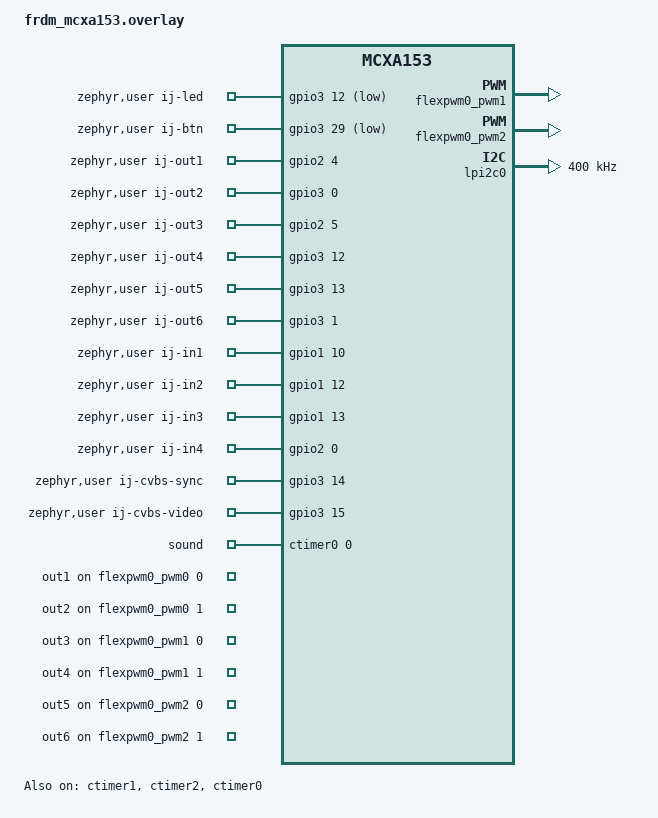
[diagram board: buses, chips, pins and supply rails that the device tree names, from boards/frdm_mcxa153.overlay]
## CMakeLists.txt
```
cmake_minimum_required(VERSION 3.20.0)
find_package(Zephyr REQUIRED HINTS $ENV{ZEPHYR_BASE})
project(ichigojam_z C)

set(IJB_BASIC_DIR ${CMAKE_CURRENT_SOURCE_DIR}/../IchigoJam_BASIC)

target_sources(app PRIVATE
    src/main.c
    ${IJB_BASIC_DIR}/main.c
)

target_include_directories(app PRIVATE
    src
    ${IJB_BASIC_DIR}
)
```

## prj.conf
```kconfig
# UART
CONFIG_SERIAL=y
CONFIG_UART_INTERRUPT_DRIVEN=y
CONFIG_UART_CONSOLE=n
CONFIG_CONSOLE=n
CONFIG_PRINTK=n
CONFIG_BOOT_BANNER=n

# GPIO
CONFIG_GPIO=y

# ADC (IN1/IN2/BTN analog input)
CONFIG_ADC=y

# PWM (sound)
CONFIG_PWM=y

# Flash / NVS storage
CONFIG_FLASH=y
CONFIG_FLASH_MAP=y
CONFIG_NVS=y

# I2C
CONFIG_I2C=y

# Reboot support (used by IJB_reset via sys_reboot)
CONFIG_REBOOT=y

# Counter (used by CVBS video line timer on rpi_pico / frdm_mcxa153)
CONFIG_COUNTER=y

# Dynamic interrupts (MCXA153: override CTimer driver ISR to eliminate H-sync jitter)
CONFIG_DYNAMIC_INTERRUPTS=y

# SRAM vector table (MCXA153: enables direct ISR registration to bypass z_arm_isr_wrapper)
# z_arm_isr_wrapper is in Flash; cache miss (~50-100cy) causes per-line SYNC=L jitter.
# With SRAM vector table, video_on() overwrites CTimer1 entry to call _cvbs_direct_isr
# directly. IRQ latency becomes fixed 12cy (CM33 hw) + LDM stall (0-9cy) only.
CONFIG_SRAM_VECTOR_TABLE=y

# Zero-latency IRQs (MCXA153: CVBS ISR at NVIC priority 0, unpreemptable by kernel tick)
# Without this, OS timer (kernel tick, IRQ57) is at the same NVIC priority as CTimer1 (IRQ40).
# Same-priority ISRs tail-chain → CVBS delayed by OS timer execution → H-sync jitter.
# With this, regular IRQs shift to NVIC prio 2+; CVBS with IRQ_ZERO_LATENCY → NVIC prio 0.
# CVBS ISR must NOT call any Zephyr kernel APIs (already satisfied: direct register access only).
CONFIG_ZERO_LATENCY_IRQS=y

# DMA (MCXA153: CTimer2-triggered DMA for CVBS pixel output, M7)
# Also ensures EDMA3 clock/reset release via board.c DT_NODE_HAS_STATUS_OKAY check.
CONFIG_DMA=y

# Threads
CONFIG_MAIN_STACK_SIZE=4096
CONFIG_MAIN_THREAD_PRIORITY=7
CONFIG_HEAP_MEM_POOL_SIZE=1024
```

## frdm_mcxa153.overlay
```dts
/*
 * IchigoJam_Z - FRDM-MCXA153 device tree overlay
 *
 * Base DTS already provides:
 *   lpuart0: console at 115200 baud (zephyr,console)
 *   lpi2c0:  I2C (arduino_i2c alias)
 *   lpadc0:  ADC
 *   gpio0-3: enabled
 *   storage_partition: 16KB at 0x1c000
 *   flexpwm0_pwm0: PWM (sound, M3)
 */

#include <zephyr/dt-bindings/gpio/gpio.h>

/ {
	zephyr,user {
		/* IchigoJam GPIO pin assignments for FRDM-MCXA153
		 * Using Arduino header pins. LEDs are active LOW.
		 * See pinmap/frdm_mcxa153.txt for connector layout.
		 */
		ij-led-gpios  = <&gpio3 12 GPIO_ACTIVE_LOW>;    /* RED LED (D5) */
		ij-btn-gpios  = <&gpio3 29 GPIO_ACTIVE_LOW>;    /* SW2 */
		ij-out1-gpios = <&gpio2  4 GPIO_ACTIVE_HIGH>;   /* D2 */
		ij-out2-gpios = <&gpio2  5 GPIO_ACTIVE_HIGH>;   /* D4 */
		ij-out3-gpios = <&gpio3  1 GPIO_ACTIVE_HIGH>;   /* D7 */
		ij-out4-gpios = <&gpio3 15 GPIO_ACTIVE_HIGH>;   /* D8 */
		ij-out5-gpios = <&gpio3 14 GPIO_ACTIVE_HIGH>;   /* D9 */
		ij-out6-gpios = <&gpio2  6 GPIO_ACTIVE_HIGH>;   /* D10 */
		ij-in1-gpios  = <&gpio1 10 GPIO_ACTIVE_HIGH>;   /* A0 */
		ij-in2-gpios  = <&gpio1 12 GPIO_ACTIVE_HIGH>;   /* A1 */
		ij-in3-gpios  = <&gpio1 13 GPIO_ACTIVE_HIGH>;   /* A2 */
		ij-in4-gpios  = <&gpio2  0 GPIO_ACTIVE_HIGH>;   /* A3 / ADC0_A0 */
	};
};
```

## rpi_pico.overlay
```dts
/*
 * IchigoJam_Z - Raspberry Pi Pico device tree overlay
 *
 * The base rpi_pico BSP already configures:
 *   uart0: GPIO0 (TX), GPIO1 (RX), 115200 baud
 *   i2c0:  GPIO4 (SDA), GPIO5 (SCL)
 *   gpio0: enabled
 *
 * This overlay:
 *   - Defines flash partitions (app: 1.75MB, storage: 256KB)
 *   - Overrides pwm_ch4b pinctrl from GPIO25 (LED) to
 *     GPIO20 (SOUND output) for the PSG timer thread (M3).
 *   - Enables ADC for IN1(GPIO27), IN2(GPIO26), BTN(GPIO28)
 */

#include <zephyr/dt-bindings/pinctrl/rpi-pico-rp2040-pinctrl.h>

/*
 * Flash partitions: 2MB total, last 256KB reserved for NVS storage.
 * The base rpi_pico-common.dtsi defines code_partition spanning all
 * usable flash. We delete it and redefine it smaller, then add
 * storage_partition in the freed space.
 */
&flash0 {
	partitions {
		/delete-node/ partition@100;

		/* Application code: 0x100 .. 0x1BFFFF (1.75MB - 256B) */
		code_partition: partition@100 {
			label = "code-partition";
			reg = <0x00000100 (DT_SIZE_K(1792) - 0x100)>;
			read-only;
		};

		/* NVS storage: last 256KB (64 sectors x 4KB) */
		storage_partition: partition@1C0000 {
			label = "storage";
			reg = <0x001C0000 DT_SIZE_K(256)>;
		};
	};
};

&pwm {
	status = "okay";
	pinctrl-0 = <&pwm_ch2a_sound>;
	pinctrl-names = "default";
};

&pinctrl {
	pwm_ch2a_sound: pwm_ch2a_sound {
		group1 {
			pinmux = <PWM_2A_P20>;
		};
	};
};

/ {
	zephyr,user {
		/* IchigoJam GPIO pin assignments for Raspberry Pi Pico */
		ij-led-gpios  = <&gpio0 25 GPIO_ACTIVE_HIGH>;   /* onboard LED */
		ij-btn-gpios  = <&gpio0 28 GPIO_ACTIVE_LOW>;    /* BTN, pull-up */
		ij-out1-gpios = <&gpio0  8 GPIO_ACTIVE_HIGH>;
		ij-out2-gpios = <&gpio0  9 GPIO_ACTIVE_HIGH>;
		ij-out3-gpios = <&gpio0 10 GPIO_ACTIVE_HIGH>;
		ij-out4-gpios = <&gpio0 11 GPIO_ACTIVE_HIGH>;
		ij-out5-gpios = <&gpio0 22 GPIO_ACTIVE_HIGH>;
		ij-out6-gpios = <&gpio0 21 GPIO_ACTIVE_HIGH>;
		ij-in1-gpios  = <&gpio0 27 GPIO_ACTIVE_HIGH>;   /* ADC ch1 */
		ij-in2-gpios  = <&gpio0 26 GPIO_ACTIVE_HIGH>;   /* ADC ch0 */
		ij-in3-gpios  = <&gpio0  6 GPIO_ACTIVE_HIGH>;
		ij-in4-gpios  = <&gpio0  7 GPIO_ACTIVE_HIGH>;
	};
};

&adc {
	status = "okay";
	#address-cells = <1>;
	#size-cells = <0>;

	channel@0 {
		reg = <0>;
		zephyr,gain = "ADC_GAIN_1";
		zephyr,reference = "ADC_REF_INTERNAL";
		zephyr,acquisition-time = <ADC_ACQ_TIME_DEFAULT>;
		zephyr,resolution = <10>;
		zephyr,input-positive = <0>;  /* IN2: GPIO26 = ADC ch0 */
	};

	channel@1 {
		reg = <1>;
		zephyr,gain = "ADC_GAIN_1";
		zephyr,reference = "ADC_REF_INTERNAL";
		zephyr,acquisition-time = <ADC_ACQ_TIME_DEFAULT>;
		zephyr,resolution = <10>;
		zephyr,input-positive = <1>;  /* IN1: GPIO27 = ADC ch1 */
	};

	channel@2 {
		reg = <2>;
		zephyr,gain = "ADC_GAIN_1";
		zephyr,reference = "ADC_REF_INTERNAL";
		zephyr,acquisition-time = <ADC_ACQ_TIME_DEFAULT>;
		zephyr,resolution = <10>;
		zephyr,input-positive = <2>;  /* BTN: GPIO28 = ADC ch2 */
	};
};
```

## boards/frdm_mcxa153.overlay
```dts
/*
 * IchigoJam_Z - FRDM-MCXA153 device tree overlay
 *
 * Base DTS already provides:
 *   lpuart0: console at 115200 baud (zephyr,console)
 *   lpi2c0:  I2C (arduino_i2c alias)
 *   lpadc0:  ADC
 *   gpio0-3: enabled
 *   storage_partition: 16KB at 0x1c000
 *   flexpwm0_pwm0: P3_6/P3_7  → PWM 1/2 (sm0 chA/B)
 *
 * This overlay adds:
 *   ctimer0:        sound output → D13 / P2_12 (CT0_MAT0)
 *   ctimer1:        CVBS line timer (M7) — 1MHz tick (prescale=95)
 *   flexpwm0_pwm1:  PWM 3/4    → P3_8  / P3_9  (sm1 chA/B)
 *   flexpwm0_pwm2:  PWM 5/6    → P3_10 / P3_11 (sm2 chA/B)
 *
 * CVBS 回路 (M7):
 *   P3_14(SYNC) ─── 470Ω ──┬── CVBS出力 (75Ω終端テレビへ)
 *   P3_15(VIDEO)─── 100Ω ──┘
 *   D9 = P3_14 (SYNC),  D8 = P3_15 (VIDEO)
 */

#include <zephyr/dt-bindings/gpio/gpio.h>
#include <zephyr/dt-bindings/pwm/pwm.h>

/*
 * CVBS ライン ISR タイマー: CTimer1
 * prescale = 95 → 96MHz / (95+1) = 1MHz → 1tick = 1µs (NTSC 64µs ライン周期に整合)
 * CTimer0 は SOUND (BEEP/PLAY) で使用中のため CTimer1 を使用する。
 * 割り込み優先度 0 (Cortex-M33 最高): Zephyr カーネル tick (SysTick/優先度1) を
 * CVBS ISR が割り込まれないようにする。
 */
&ctimer1 {
	status = "okay";
	prescale = <95>;
};

/*
 * CVBS ピクセルクロック: CTimer2 (M7)
 * prescale = 0 → 96MHz。MR0/MCR は video_on() で直接設定する。
 * IRQ 41 は video_on() で irq_disable() して CPU 割り込みを防ぐ。
 * DMA request source: kDma0RequestMuxCtimer2M0 = 35
 */
&ctimer2 {
	status = "okay";
	/* prescale デフォルト = 0 (DTSI より) → PR = 0 (96MHz) */
};

/*
 * EDMA0 (M7): CTimer2-triggered DMA でピクセルデータを GPIO3 PDOR に転送。
 * status = "okay" により board.c が RESET_ReleasePeripheralReset(kDMA_RST_SHIFT_RSTn)
 * を実行し DMA0 をリセットから解放する。CH3 を直接レジスタアクセスで使用。
 */
&edma0 {
	status = "okay";
};

/* Sound: CTimer0, CT0_MAT0 → D13 (P2_12) */
&ctimer0 {
	compatible = "nxp,ctimer-pwm";
	status = "okay";
	pinctrl-0 = <&ctimer0_sound>;
	pinctrl-names = "default";
	#pwm-cells = <3>;
	prescaler = <1>;
};

/* PWM 3/4: FlexPWM0 sub-module 1 → P3_8 (chA) / P3_9 (chB) */
&flexpwm0_pwm1 {
	status = "okay";
	pinctrl-0 = <&flexpwm0_pwm1_pins>;
	pinctrl-names = "default";
};

/* PWM 5/6: FlexPWM0 sub-module 2 → P3_10 (chA) / P3_11 (chB) */
&flexpwm0_pwm2 {
	status = "okay";
	pinctrl-0 = <&flexpwm0_pwm2_pins>;
	pinctrl-names = "default";
};

&pinctrl {
	ctimer0_sound: ctimer0_sound {
		group0 {
			pinmux = <CT0_MAT0_P2_12>;
			drive-strength = "high";
			slew-rate = "fast";
		};
	};

	flexpwm0_pwm1_pins: flexpwm0_pwm1_pins {
		group0 {
			pinmux = <PWM0_A1_P3_8>, <PWM0_B1_P3_9>;
			drive-strength = "low";
			slew-rate = "fast";
		};
	};

	flexpwm0_pwm2_pins: flexpwm0_pwm2_pins {
		group0 {
			pinmux = <PWM0_A2_P3_10>, <PWM0_B2_P3_11>;
			drive-strength = "low";
			slew-rate = "fast";
		};
	};

	/* ADC: add A0/A1/A2 (P1_10/P1_12/P1_13) alongside existing A3 (P2_0) */
	pinmux_lpadc0: pinmux_lpadc0 {
		group1 {
			pinmux = <ADC0_A8_P1_10>,   /* A0 = ANA(1) / IN(1) */
				 <ADC0_A10_P1_12>,  /* A1 = ANA(2) / IN(2) */
				 <ADC0_A11_P1_13>;  /* A2 = ANA(3) / IN(3) */
			drive-strength = "low";
			slew-rate = "fast";
		};
		/* group0: P2_0 = A3 = ANA(4) / IN(4) — defined in board pinctrl.dtsi */
	};
};

/* LPI2C0: arduino_i2c alias — enable with 400 kHz */
&lpi2c0 {
	status = "okay";
	clock-frequency = <I2C_BITRATE_FAST>;
};

/* Expand storage_partition from 16 KB (2 sectors) to 32 KB (4 × 8 KB sectors).
 * Binary is ~50 KB at 0x0; 0x18000 (96 KB) leaves ample room for code growth.
 * Sector size = 8 KB (FSL_FEATURE_SYSCON_FLASH_SECTOR_SIZE_BYTES),
 * so 4 sectors give NVS ~24 KB of usable space (1 sector reserved for GC).
 */
&flash {
	partitions {
		/delete-node/ partition@1c000;  /* remove base 16 KB storage */

		storage_partition: partition@18000 {
			label = "storage";
			reg = <0x18000 DT_SIZE_K(32)>;
		};
	};
};

/ {
	chosen {
		ij-adc        = &lpadc0;   /* ADC device for ANA()/IN() */
		ij-i2c        = &lpi2c0;  /* I2C device for I2C() command */
		ij-cvbs-timer = &ctimer1; /* Counter device for CVBS line timer (M7) */
	};

	zephyr,user {
		/* IchigoJam GPIO pin assignments for FRDM-MCXA153
		 * Using Arduino header pins. LEDs are active LOW.
		 * See pinmap/frdm_mcxa153.txt for connector layout.
		 */
		ij-led-gpios  = <&gpio3 12 GPIO_ACTIVE_LOW>;    /* RED LED (D5, shared with OUT4) */
		ij-btn-gpios  = <&gpio3 29 GPIO_ACTIVE_LOW>;    /* SW2 */
		ij-out1-gpios = <&gpio2  4 GPIO_ACTIVE_HIGH>;   /* D2 */
		ij-out2-gpios = <&gpio3  0 GPIO_ACTIVE_HIGH>;   /* D3 (BLUE LED) */
		ij-out3-gpios = <&gpio2  5 GPIO_ACTIVE_HIGH>;   /* D4 */
		ij-out4-gpios = <&gpio3 12 GPIO_ACTIVE_HIGH>;   /* D5 (RED LED, shared with ij-led) */
		ij-out5-gpios = <&gpio3 13 GPIO_ACTIVE_HIGH>;   /* D6 (GREEN LED) */
		ij-out6-gpios = <&gpio3  1 GPIO_ACTIVE_HIGH>;   /* D7 */
		ij-in1-gpios  = <&gpio1 10 GPIO_ACTIVE_HIGH>;   /* A0 */
		ij-in2-gpios  = <&gpio1 12 GPIO_ACTIVE_HIGH>;   /* A1 */
		ij-in3-gpios  = <&gpio1 13 GPIO_ACTIVE_HIGH>;   /* A2 */
		ij-in4-gpios  = <&gpio2  0 GPIO_ACTIVE_HIGH>;   /* A3 / ADC0_A0 */
		/* M7: CVBS video output pins */
		ij-cvbs-sync-gpios  = <&gpio3 14 GPIO_ACTIVE_HIGH>;  /* SYNC → 470Ω → CVBS : D9 P3_14 */
		ij-cvbs-video-gpios = <&gpio3 15 GPIO_ACTIVE_HIGH>;  /* VIDEO→ 100Ω → CVBS : D8 P3_15 */

		/*
		 * PWM specs for IchigoJam sound and OUT PWM outputs.
		 * Use standard "pwms" property (requires #pwm-cells = <3> on each
		 * referenced controller) with "pwm-names" for named access.
		 *
		 * Index mapping (must match pwm-names order):
		 *   0 = sound  : ctimer0 ch0 = CT0_MAT0 → D13 (P2_12)
		 *   1 = out1   : flexpwm0_pwm0 sm0 chA → P3_6
		 *   2 = out2   : flexpwm0_pwm0 sm0 chB → P3_7
		 *   3 = out3   : flexpwm0_pwm1 sm1 chA → P3_8
		 *   4 = out4   : flexpwm0_pwm1 sm1 chB → P3_9
		 *   5 = out5   : flexpwm0_pwm2 sm2 chA → P3_10
		 *   6 = out6   : flexpwm0_pwm2 sm2 chB → P3_11
		 *
		 * Period values are dummy (1 µs for sound, 20 ms for OUT);
		 * actual period is always set by pwm_set() at runtime.
		 */
		pwms = <&ctimer0       0 1000     PWM_POLARITY_NORMAL>,
		       <&flexpwm0_pwm0 0 20000000 PWM_POLARITY_NORMAL>,
		       <&flexpwm0_pwm0 1 20000000 PWM_POLARITY_NORMAL>,
		       <&flexpwm0_pwm1 0 20000000 PWM_POLARITY_NORMAL>,
		       <&flexpwm0_pwm1 1 20000000 PWM_POLARITY_NORMAL>,
		       <&flexpwm0_pwm2 0 20000000 PWM_POLARITY_NORMAL>,
		       <&flexpwm0_pwm2 1 20000000 PWM_POLARITY_NORMAL>;
		pwm-names = "sound", "out1", "out2", "out3", "out4", "out5", "out6";
	};
};
```

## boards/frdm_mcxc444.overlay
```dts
/*
 * IchigoJam_Z - FRDM-MCXC444 device tree overlay
 *
 * Base BSP already provides:
 *   lpuart0: console at 115200 baud (PTA1/PTA2)
 *   adc0:    enabled, pinmux_adc0 has PTE20(SE0) and PTE22(SE3)
 *   i2c0:    enabled at PTE24(SCL)/PTE25(SDA), FXLS8974 accel at 0x18
 *   tpm0:    enabled, CH2=PTE29(blue LED), CH4=PTE31(red LED), CH5=PTD5(green LED)
 *   gpioa-e: all enabled
 *   flash0:  storage_partition at 0x38000 (32KB) — already correct, no change needed
 *
 * This overlay adds:
 *   tpm0: CH1=PTA4(OUT3), CH2=PTA5(OUT4), CH3=PTD3(OUT1), CH3=PTE30(OUT6)
 *         (CH2=PTE29/OUT5 already in BSP group0)
 *   tpm1: CH0=PTA12(OUT2)
 *   tpm2: CH0=PTB18(SOUND)
 *   adc0: adds PTB0-3 (SE8/SE9/SE12/SE13) for IN1-IN4
 *   i2c1: PTE0(SDA)/PTE1(SCL) for user I2C (D18/D19)
 *
 * Pin assignments (Arduino header):
 *   LED    PTE31 (GPIOE 31, active LOW)   — onboard Red LED
 *   BTN    PTC3  (GPIOC  3, active LOW)   — SW2
 *   OUT1   PTD3  / TPM0_CH3  / D2
 *   OUT2   PTA12 / TPM1_CH0  / D3
 *   OUT3   PTA4  / TPM0_CH1  / D4  [SW3/user_button_3 shared pin]
 *   OUT4   PTA5  / TPM0_CH2  / D5
 *   OUT5   PTE29 / TPM0_CH2  / D6  [BLUE LED shared pin, active LOW]
 *   OUT6   PTE30 / TPM0_CH3  / D7
 *   SOUND  PTB18 / TPM2_CH0      — J4 inner row, D0 内側端子
 *   IN1/ANA(1)  PTB0 — ADC0_SE8  (Arduino A0)
 *   IN2/ANA(2)  PTB1 — ADC0_SE9  (Arduino A1)
 *   IN3/ANA(3)  PTB2 — ADC0_SE12 (Arduino A2)
 *   IN4/ANA(4)  PTB3 — ADC0_SE13 (Arduino A3)
 *   I2C SCL     PTE1 (I2C1_SCL)  / D19
 *   I2C SDA     PTE0 (I2C1_SDA)  / D18
 *
 * Kinetis TPM module constraints (shared period register per module):
 *   TPM0 (shared period): OUT1(CH3), OUT3(CH1), OUT4(CH2), OUT5(CH2)*, OUT6(CH3)*
 *     * OUT4 and OUT5 share TPM0_CH2 → same duty cycle when both active
 *     * OUT1 and OUT6 share TPM0_CH3 → same duty cycle when both active
 *   TPM1 (independent):   OUT2(CH0)
 *   TPM2 (independent):   SOUND(CH0) — BEEP/PLAY will not interfere with OUT PWM
 *
 * i2c0 (PTE24/PTE25) is reserved for onboard FXLS8974 accelerometer ("no availability").
 * User I2C must use i2c1 (PTE0/PTE1 = D18/D19).
 */

#include <zephyr/dt-bindings/gpio/gpio.h>
#include <zephyr/dt-bindings/pwm/pwm.h>

&pinctrl {
	/* Add OUT1/3/4/6 channels to existing tpm0 pinctrl.
	 * BSP group0 already has CH2=PTE29(blue LED/OUT5), CH4=PTE31(red LED),
	 * CH5=PTD5(green LED). New group adds remaining OUT channels. */
	pinmux_tpm0: pinmux_tpm0 {
		group_out {
			pinmux = <TPM0_CH3_PTD3>,   /* OUT1: D2  */
				 <TPM0_CH1_PTA4>,   /* OUT3: D4  */
				 <TPM0_CH2_PTA5>,   /* OUT4: D5  */
				 <TPM0_CH3_PTE30>;  /* OUT6: D7  */
			drive-strength = "low";
			slew-rate = "slow";
		};
	};

	/* TPM1: OUT2 = PTA12 / D3 */
	pinmux_tpm1_out: pinmux_tpm1_out {
		group0 {
			pinmux = <TPM1_CH0_PTA12>;
			drive-strength = "low";
			slew-rate = "slow";
		};
	};

	/* TPM2: SOUND = PTB18 (J4 inner row, D0 内側端子) */
	pinmux_tpm2_out: pinmux_tpm2_out {
		group0 {
			pinmux = <TPM2_CH0_PTB18>;
			drive-strength = "low";
			slew-rate = "slow";
		};
	};

	/* I2C1: PTE0(SDA)/PTE1(SCL) = D18/D19 Arduino header */
	pinmux_i2c1: pinmux_i2c1 {
		group0 {
			pinmux = <I2C1_SDA_PTE0>,
				 <I2C1_SCL_PTE1>;
			drive-strength = "low";
			drive-open-drain;
			slew-rate = "fast";
		};
	};

	/* ADC0 pinctrl: add IN1-IN4 channels PTB0-3.
	 * BSP group0 has PTE20(SE0)/PTE22(SE3) — unused but harmless. */
	pinmux_adc0: pinmux_adc0 {
		group_ptb {
			pinmux = <ADC0_SE8_PTB0>,    /* A0 = ANA(1) / IN(1) */
				 <ADC0_SE9_PTB1>,    /* A1 = ANA(2) / IN(2) */
				 <ADC0_SE12_PTB2>,   /* A2 = ANA(3) / IN(3) */
				 <ADC0_SE13_PTB3>;   /* A3 = ANA(4) / IN(4) */
			drive-strength = "low";
			slew-rate = "slow";
		};
	};
};

/* Enable TPM1 for OUT2 (PTA12 / D3) */
&tpm1 {
	status = "okay";
	pinctrl-0 = <&pinmux_tpm1_out>;
	pinctrl-names = "default";
	clocks = <&sim KINETIS_SIM_CLOCK(KINETIS_SIM_MCGPCLK, 0x103c, 25)>;
};

/* Enable TPM2 for SOUND (PTB18 / J4 inner row D0) */
&tpm2 {
	status = "okay";
	pinctrl-0 = <&pinmux_tpm2_out>;
	pinctrl-names = "default";
	clocks = <&sim KINETIS_SIM_CLOCK(KINETIS_SIM_MCGPCLK, 0x103c, 26)>;
};

/* Enable I2C1 for user I2C (D18=SDA/PTE0, D19=SCL/PTE1) */
&i2c1 {
	status = "okay";
	pinctrl-0 = <&pinmux_i2c1>;
	pinctrl-names = "default";
	clock-frequency = <I2C_BITRATE_FAST>;
};

/ {
	chosen {
		ij-adc = &adc0;   /* ADC device for ANA()/IN() */
		ij-i2c = &i2c1;  /* I2C device for I2C() command */
	};

	zephyr,user {
		/* IchigoJam GPIO pin assignments for FRDM-MCXC444 */
		ij-led-gpios  = <&gpioe 31 GPIO_ACTIVE_LOW>;   /* RED LED (PTE31) */
		ij-btn-gpios  = <&gpioc  3 GPIO_ACTIVE_LOW>;   /* SW2 (PTC3) */
		ij-out1-gpios = <&gpiod  3 GPIO_ACTIVE_HIGH>;  /* PTD3  / D2 */
		ij-out2-gpios = <&gpioa 12 GPIO_ACTIVE_HIGH>;  /* PTA12 / D3 */
		ij-out3-gpios = <&gpioa  4 GPIO_ACTIVE_HIGH>;  /* PTA4  / D4 (SW3 shared) */
		ij-out4-gpios = <&gpioa  5 GPIO_ACTIVE_HIGH>;  /* PTA5  / D5 */
		ij-out5-gpios = <&gpioe 29 GPIO_ACTIVE_HIGH>;  /* PTE29 / D6 (BLUE LED shared) */
		ij-out6-gpios = <&gpioe 30 GPIO_ACTIVE_HIGH>;  /* PTE30 / D7 */
		ij-in1-gpios  = <&gpiob  0 GPIO_ACTIVE_HIGH>;  /* PTB0 = ADC0_SE8  / A0 */
		ij-in2-gpios  = <&gpiob  1 GPIO_ACTIVE_HIGH>;  /* PTB1 = ADC0_SE9  / A1 */
		ij-in3-gpios  = <&gpiob  2 GPIO_ACTIVE_HIGH>;  /* PTB2 = ADC0_SE12 / A2 */
		ij-in4-gpios  = <&gpiob  3 GPIO_ACTIVE_HIGH>;  /* PTB3 = ADC0_SE13 / A3 */

		/*
		 * PWM specs for IchigoJam sound and OUT PWM outputs.
		 *
		 * Kinetis TPM: each module has ONE shared period register.
		 *   TPM0 (shared): OUT1(CH3/PTD3), OUT3(CH1/PTA4), OUT4(CH2/PTA5),
		 *                  OUT5(CH2/PTE29)*, OUT6(CH3/PTE30)*
		 *   TPM1 (independent): OUT2(CH0/PTA12)
		 *   TPM2 (independent): SOUND(CH0/PTB18)
		 *
		 * Hardware channel conflicts (same TPM channel → same duty cycle):
		 *   OUT4(TPM0_CH2/PTA5) == OUT5(TPM0_CH2/PTE29)  → PWM 4 and PWM 5 share CH2
		 *   OUT1(TPM0_CH3/PTD3) == OUT6(TPM0_CH3/PTE30)  → PWM 1 and PWM 6 share CH3
		 *
		 * Period dummy values; actual period set by pwm_set() at runtime.
		 */
		pwms = <&tpm2 0 1000     PWM_POLARITY_NORMAL>,  /* sound: TPM2_CH0/PTB18 */
		       <&tpm0 3 20000000 PWM_POLARITY_NORMAL>,  /* out1:  TPM0_CH3/PTD3  */
		       <&tpm1 0 20000000 PWM_POLARITY_NORMAL>,  /* out2:  TPM1_CH0/PTA12 */
		       <&tpm0 1 20000000 PWM_POLARITY_NORMAL>,  /* out3:  TPM0_CH1/PTA4  */
		       <&tpm0 2 20000000 PWM_POLARITY_NORMAL>,  /* out4:  TPM0_CH2/PTA5  */
		       <&tpm0 2 20000000 PWM_POLARITY_NORMAL>,  /* out5:  TPM0_CH2/PTE29 (=CH2, same as out4) */
		       <&tpm0 3 20000000 PWM_POLARITY_NORMAL>;  /* out6:  TPM0_CH3/PTE30 (=CH3, same as out1) */
		pwm-names = "sound", "out1", "out2", "out3", "out4", "out5", "out6";

		/*
		 * PORT_PCR restore table for GPIO→TPM pin-mux recovery.
		 * Kinetis MCX-C lacks a Zephyr runtime pinmux API (same limitation
		 * as RP2040). Each OUT1-6 entry encodes [PORT_base, pin, tpm_mux]
		 * for ichigojam-io.h to restore TPM function via direct PCR writes
		 * after a GPIO operation switches the pin back to ALT1.
		 *   PORT base addresses: A=0x40049000 B=0x4004A000 C=0x4004B000
		 *                        D=0x4004C000 E=0x4004D000
		 *   TPM mux values: ALT3=3 (PTA/PTE TPM pins), ALT4=4 (PTD TPM pins)
		 */
		ij-out-tpm-pcr =
			<0x4004C000  3 4>,  /* OUT1: PORTD, pin  3, ALT4=TPM0_CH3 */
			<0x40049000 12 3>,  /* OUT2: PORTA, pin 12, ALT3=TPM1_CH0 */
			<0x40049000  4 3>,  /* OUT3: PORTA, pin  4, ALT3=TPM0_CH1 */
			<0x40049000  5 3>,  /* OUT4: PORTA, pin  5, ALT3=TPM0_CH2 */
			<0x4004D000 29 3>,  /* OUT5: PORTE, pin 29, ALT3=TPM0_CH2 */
			<0x4004D000 30 3>;  /* OUT6: PORTE, pin 30, ALT3=TPM0_CH3 */
	};
};
```

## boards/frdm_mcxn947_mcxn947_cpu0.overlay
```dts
/*
 * IchigoJam_Z - FRDM-MCXN947 device tree overlay
 *
 * Base DTS (frdm_mcxn947_mcxn947_cpu0.dtsi) already provides:
 *   flexcomm4_lpuart4: console at 115200 baud (zephyr,console)
 *   flexcomm2_lpi2c2:  arduino_i2c
 *   lpadc0:            ADC (status okay, vref okay)
 *   gpio0-5:           enabled
 *   flexpwm1_pwm0:     sm0 chA/B → PIO2_6 / PIO2_7  (sound)
 *   flash + w25q64:    w25q64 carries storage_partition (external, 8 MB)
 *
 * This overlay:
 *   - Moves storage_partition to internal flash (last 64 KB of 2 MB)
 *   - Enables flexpwm1_pwm1 (OUT1/2 PWM) → PIO2_4 / PIO2_5
 *   - Enables flexpwm1_pwm2 (OUT3/4 PWM) → PIO2_2 / PIO2_3
 *   - Overrides lpadc0 pinctrl to Arduino A2 (PIO0_14) / A3 (PIO0_22)
 *   - Defines two ADC channel nodes for IN1 / IN2
 *   - Sets vref to HIGH_POWER mode (required by LPADC)
 *   - Assigns IchigoJam GPIO functions to Arduino header pins
 */

#include <zephyr/dt-bindings/gpio/gpio.h>
#include <zephyr/dt-bindings/adc/adc.h>
#include <zephyr/dt-bindings/adc/mcux-lpadc.h>
#include <zephyr/dt-bindings/regulator/nxp_vref.h>

/* -----------------------------------------------------------------------
 * Storage: move storage_partition from WINBOND external flash to the
 * last 64 KB of the 2 MB internal flash (8 sectors × 8 KB erase block).
 * The existing slot1_partition covers this range but is unused without
 * MCUboot.  IchigoJam binaries are well under 1 MB.
 * ----------------------------------------------------------------------- */
/delete-node/ &storage_partition;

&flash {
	partitions {
		storage_partition: partition@1F0000 {
			label = "storage";
			reg = <0x001F0000 DT_SIZE_K(64)>;
		};
	};
};

/* -----------------------------------------------------------------------
 * OUT PWM: FlexPWM1 sub-modules 1 and 2
 *   sm1 → PIO2_4 (chA = OUT1) / PIO2_5 (chB = OUT2)
 *   sm2 → PIO2_2 (chA = OUT3) / PIO2_3 (chB = OUT4)
 * OUT5 / OUT6 have no dedicated PWM on this board (stubbed in firmware).
 * ----------------------------------------------------------------------- */
&flexpwm1_pwm1 {
	status = "okay";
	pinctrl-0 = <&flexpwm1_pwm1_ij>;
	pinctrl-names = "default";
};

&flexpwm1_pwm2 {
	status = "okay";
	pinctrl-0 = <&flexpwm1_pwm2_ij>;
	pinctrl-names = "default";
};

/* -----------------------------------------------------------------------
 * ADC: override lpadc0 pinctrl to Arduino A2 / A3 header pins
 *   channel 0 (IN1) = PIO0_14 = ADC0_B14 = MCUX_LPADC_CH14B
 *   channel 1 (IN2) = PIO0_22 = ADC0_A14 = MCUX_LPADC_CH14A
 * Reference voltage: 1.8 V from on-chip VREF (HIGH_POWER mode).
 * ----------------------------------------------------------------------- */
&vref {
	regulator-initial-mode = <NXP_VREF_MODE_HIGH_POWER>;
};

&lpadc0 {
	pinctrl-0 = <&lpadc0_ij>;
	pinctrl-names = "default";
	#address-cells = <1>;
	#size-cells = <0>;

	channel@0 {
		reg = <0>;
		zephyr,gain             = "ADC_GAIN_1";
		zephyr,reference        = "ADC_REF_EXTERNAL1";
		zephyr,vref-mv          = <1800>;
		zephyr,acquisition-time = <ADC_ACQ_TIME_DEFAULT>;
		zephyr,resolution       = <12>;
		zephyr,input-positive   = <MCUX_LPADC_CH14B>; /* IN1: PIO0_14 = Arduino A2 */
	};

	channel@1 {
		reg = <1>;
		zephyr,gain             = "ADC_GAIN_1";
		zephyr,reference        = "ADC_REF_EXTERNAL1";
		zephyr,vref-mv          = <1800>;
		zephyr,acquisition-time = <ADC_ACQ_TIME_DEFAULT>;
		zephyr,resolution       = <12>;
		zephyr,input-positive   = <MCUX_LPADC_CH14A>; /* IN2: PIO0_22 = Arduino A3 */
	};
};

&pinctrl {
	flexpwm1_pwm1_ij: flexpwm1_pwm1_ij {
		group0 {
			pinmux = <PWM1_A1_PIO2_4>, <PWM1_B1_PIO2_5>;
			drive-strength = "low";
			slew-rate = "fast";
		};
	};

	flexpwm1_pwm2_ij: flexpwm1_pwm2_ij {
		group0 {
			pinmux = <PWM1_A2_PIO2_2>, <PWM1_B2_PIO2_3>;
			drive-strength = "low";
			slew-rate = "fast";
		};
	};

	/* ADC: Arduino A2 (PIO0_14) and A3 (PIO0_22) */
	lpadc0_ij: lpadc0_ij {
		group0 {
			pinmux = <ADC0_B14_PIO0_14>,  /* IN1: Arduino A2 */
				 <ADC0_A14_PIO0_22>;  /* IN2: Arduino A3 */
			drive-strength = "low";
			slew-rate = "fast";
		};
	};
};

/ {
	zephyr,user {
		/*
		 * IchigoJam GPIO assignments for FRDM-MCXN947 (Arduino header)
		 *
		 * LED   = Red LED D9  (gpio0.10, active LOW)
		 * BTN   = SW2 / A5   (gpio0.23, active LOW)
		 * OUT1  = D2          gpio0.29
		 * OUT2  = D3          gpio1.23
		 * OUT3  = D4          gpio0.30
		 * OUT4  = D5          gpio1.21
		 * OUT5  = D6 / Blue   gpio1.2
		 * OUT6  = D7          gpio0.31
		 * IN1   = A2          gpio0.14  (ADC0_B14, ch14B)
		 * IN2   = A3          gpio0.22  (ADC0_A14, ch14A)
		 * IN3   = A4          gpio0.15
		 * IN4   = D8          gpio0.28
		 *
		 * PWM sound output: PIO2_6 (flexpwm1_pwm0 sm0 chA, already enabled)
		 * PWM OUT1/2:       PIO2_4 / PIO2_5  (flexpwm1_pwm1)
		 * PWM OUT3/4:       PIO2_2 / PIO2_3  (flexpwm1_pwm2)
		 */
		ij-led-gpios  = <&gpio0 10 GPIO_ACTIVE_LOW>;   /* Red LED (D9) */
		ij-btn-gpios  = <&gpio0 23 GPIO_ACTIVE_LOW>;   /* SW2 (A5) */
		ij-out1-gpios = <&gpio0 29 GPIO_ACTIVE_HIGH>;  /* D2 */
		ij-out2-gpios = <&gpio1 23 GPIO_ACTIVE_HIGH>;  /* D3 */
		ij-out3-gpios = <&gpio0 30 GPIO_ACTIVE_HIGH>;  /* D4 */
		ij-out4-gpios = <&gpio1 21 GPIO_ACTIVE_HIGH>;  /* D5 */
		ij-out5-gpios = <&gpio1  2 GPIO_ACTIVE_HIGH>;  /* D6 (also Blue LED) */
		ij-out6-gpios = <&gpio0 31 GPIO_ACTIVE_HIGH>;  /* D7 */
		ij-in1-gpios  = <&gpio0 14 GPIO_ACTIVE_HIGH>;  /* A2 / ADC0_B14 */
		ij-in2-gpios  = <&gpio0 22 GPIO_ACTIVE_HIGH>;  /* A3 / ADC0_A14 */
		ij-in3-gpios  = <&gpio0 15 GPIO_ACTIVE_HIGH>;  /* A4 */
		ij-in4-gpios  = <&gpio0 28 GPIO_ACTIVE_HIGH>;  /* D8 */

		/* DT-based ADC channels: index 0 = IN1, index 1 = IN2 */
		io-channels = <&lpadc0 0>, <&lpadc0 1>;
	};
};
```

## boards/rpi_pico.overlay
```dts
/*
 * IchigoJam_Z - Raspberry Pi Pico device tree overlay
 *
 * The base rpi_pico BSP already configures:
 *   uart0: GPIO0 (TX), GPIO1 (RX), 115200 baud
 *   i2c0:  GPIO4 (SDA), GPIO5 (SCL)
 *   gpio0: enabled
 *
 * This overlay:
 *   - Defines flash partitions (app: 1.75MB, storage: 256KB)
 *   - Overrides pwm_ch4b pinctrl from GPIO25 (LED) to
 *     GPIO20 (SOUND output) for the PSG timer thread (M3).
 *   - Enables ADC for IN1(GPIO27), IN2(GPIO26), BTN(GPIO28)
 */

#include <zephyr/dt-bindings/pinctrl/rpi-pico-rp2040-pinctrl.h>
#include <zephyr/dt-bindings/pwm/pwm.h>

/*
 * Flash partitions: 2MB total, last 256KB reserved for NVS storage.
 * The base rpi_pico-common.dtsi defines code_partition spanning all
 * usable flash. We delete it and redefine it smaller, then add
 * storage_partition in the freed space.
 */
&flash0 {
	partitions {
		/delete-node/ partition@100;

		/* Application code: 0x100 .. 0x1BFFFF (1.75MB - 256B) */
		code_partition: partition@100 {
			label = "code-partition";
			reg = <0x00000100 (DT_SIZE_K(1792) - 0x100)>;
			read-only;
		};

		/* NVS storage: last 256KB (64 sectors x 4KB) */
		storage_partition: partition@1C0000 {
			label = "storage";
			reg = <0x001C0000 DT_SIZE_K(256)>;
		};
	};
};

&pwm {
	status = "okay";
	pinctrl-0 = <&pwm_ch2a_sound>;
	pinctrl-names = "default";
};

&pinctrl {
	pwm_ch2a_sound: pwm_ch2a_sound {
		group1 {
			pinmux = <PWM_2A_P20>;
		};
	};
};

/ {
	chosen {
		ij-adc        = &adc;    /* ADC device for ANA()/IN() */
		ij-i2c        = &i2c0;  /* I2C device for I2C() command */
		ij-cvbs-timer = &timer;  /* Counter device for CVBS line timer (M6) */
	};

	zephyr,user {
		/* IchigoJam GPIO pin assignments for Raspberry Pi Pico */
		ij-led-gpios  = <&gpio0 25 GPIO_ACTIVE_HIGH>;   /* onboard LED */
		ij-btn-gpios  = <&gpio0 28 GPIO_ACTIVE_LOW>;    /* BTN, pull-up */
		ij-out1-gpios = <&gpio0  8 GPIO_ACTIVE_HIGH>;
		ij-out2-gpios = <&gpio0  9 GPIO_ACTIVE_HIGH>;
		ij-out3-gpios = <&gpio0 10 GPIO_ACTIVE_HIGH>;
		ij-out4-gpios = <&gpio0 11 GPIO_ACTIVE_HIGH>;
		ij-out5-gpios = <&gpio0 22 GPIO_ACTIVE_HIGH>;
		ij-out6-gpios = <&gpio0 21 GPIO_ACTIVE_HIGH>;
		ij-in1-gpios  = <&gpio0 27 GPIO_ACTIVE_HIGH>;   /* ADC ch1 */
		ij-in2-gpios  = <&gpio0 26 GPIO_ACTIVE_HIGH>;   /* ADC ch0 */
		ij-in3-gpios  = <&gpio0  6 GPIO_ACTIVE_HIGH>;
		ij-in4-gpios  = <&gpio0  7 GPIO_ACTIVE_HIGH>;
		/* M6: CVBS video output pins */
		ij-cvbs-sync-gpios  = <&gpio0 16 GPIO_ACTIVE_HIGH>;  /* SYNC → 470Ω → CVBS */
		ij-cvbs-video-gpios = <&gpio0 17 GPIO_ACTIVE_HIGH>;  /* VIDEO→ 100Ω → CVBS */

		/*
		 * PWM specs for IchigoJam sound and OUT PWM outputs.
		 * Use standard "pwms" property (requires #pwm-cells = <3> on &pwm)
		 * with "pwm-names" for named access via PWM_DT_SPEC_GET_BY_NAME.
		 *
		 * RP2040 channel = gpio_pin % 16 (RP2040 PWM driver convention):
		 *   GPIO20 → ch 4 (sound)
		 *   GPIO8  → ch 8 (out1),  GPIO9  → ch 9 (out2)
		 *   GPIO10 → ch10 (out3),  GPIO11 → ch11 (out4)
		 *   GPIO22 → ch 6 (out5),  GPIO21 → ch 5 (out6)
		 *
		 * Runtime pinmux (GPIO→PWM) for OUT pins is set via direct
		 * IO_BANK0.GPIO_CTRL[n].FUNCSEL register access in ichigojam-io.h
		 * because Zephyr has no runtime pinmux API.
		 * Period dummy values; actual period set by pwm_set() at runtime.
		 */
		pwms = <&pwm  4 1000     PWM_POLARITY_NORMAL>,  /* sound */
		       <&pwm  8 20000000 PWM_POLARITY_NORMAL>,  /* out1  */
		       <&pwm  9 20000000 PWM_POLARITY_NORMAL>,  /* out2  */
		       <&pwm 10 20000000 PWM_POLARITY_NORMAL>,  /* out3  */
		       <&pwm 11 20000000 PWM_POLARITY_NORMAL>,  /* out4  */
		       <&pwm  6 20000000 PWM_POLARITY_NORMAL>,  /* out5  */
		       <&pwm  5 20000000 PWM_POLARITY_NORMAL>;  /* out6  */
		pwm-names = "sound", "out1", "out2", "out3", "out4", "out5", "out6";
	};
};

/*
 * CVBS タイマー (RP2040 hardware timer alarm0)
 *
 * alarm0 の IRQ 優先度を 0 (最高) に設定する。
 * Cortex-M0+ は 2-bit 優先度 (0=最高, 3=最低)。
 * 優先度 0 により Zephyr カーネル tick (SysTick/alarm3 = 優先度 3) を含む
 * 全ての割り込みが CVBS ISR を割り込めなくなり、H-sync 周期が安定する。
 * RP2040 は BASEPRI 非搭載のため CONFIG_ZERO_LATENCY_IRQS は無効であり、
 * 優先度 0 でも Zephyr API (counter_set_channel_alarm 等) を安全に呼べる。
 *
 * 優先度マッピング (Cortex-M0+ 2bit: 0=最高 … 3=最低):
 *   alarm0: 0 (CVBS 専用 — 最高優先度)
 *   alarm1-3: 3 (デフォルト)
 */
&timer {
	status = "okay";
	interrupts = <0 0>,  /* alarm0: CVBS — 最高優先度 */
		     <1 3>,
		     <2 3>,
		     <3 3>;
};

/* I2C0: GPIO4 (SDA), GPIO5 (SCL) — already pinctrl'd in BSP, just enable */
&i2c0 {
	status = "okay";
	clock-frequency = <I2C_BITRATE_FAST>;
};

&adc {
	status = "okay";
	#address-cells = <1>;
	#size-cells = <0>;

	channel@0 {
		reg = <0>;
		zephyr,gain = "ADC_GAIN_1";
		zephyr,reference = "ADC_REF_INTERNAL";
		zephyr,acquisition-time = <ADC_ACQ_TIME_DEFAULT>;
		zephyr,resolution = <10>;
		zephyr,input-positive = <0>;  /* IN2: GPIO26 = ADC ch0 */
	};

	channel@1 {
		reg = <1>;
		zephyr,gain = "ADC_GAIN_1";
		zephyr,reference = "ADC_REF_INTERNAL";
		zephyr,acquisition-time = <ADC_ACQ_TIME_DEFAULT>;
		zephyr,resolution = <10>;
		zephyr,input-positive = <1>;  /* IN1: GPIO27 = ADC ch1 */
	};

	channel@2 {
		reg = <2>;
		zephyr,gain = "ADC_GAIN_1";
		zephyr,reference = "ADC_REF_INTERNAL";
		zephyr,acquisition-time = <ADC_ACQ_TIME_DEFAULT>;
		zephyr,resolution = <10>;
		zephyr,input-positive = <2>;  /* BTN: GPIO28 = ADC ch2 */
	};
};
```

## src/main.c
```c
#if 0
// IchigoJam_Z - Zephyr entry point

#include <zephyr/kernel.h>

// ichigojam_main() is defined in IchigoJam_BASIC/main.c
// (compiled as a separate translation unit with our HAL headers on the path)
void ichigojam_main(void);

int main(void)
{
    ichigojam_main();
    return 0;
}
#else


#include <zephyr/drivers/gpio.h>
#include <zephyr/device.h>
#include <zephyr/devicetree.h>

#if 0
#define GPIO3_BASE DT_REG_ADDR(DT_NODELABEL(gpio3))
#define GPIO3_PSOR (*(volatile uint32_t *)(GPIO3_BASE + 0x44))
#define GPIO3_PCOR (*(volatile uint32_t *)(GPIO3_BASE + 0x48))
#define GPIO3_PDDR (*(volatile uint32_t *)(GPIO3_BASE + 0x54))
#endif

#include <stdint.h>
#include <stdbool.h>

/* =========================
 *  SoC 固有ベースアドレス（要確認）
 * ========================= */

#if 1
#define GPIO3_BASE      0x40105000U
#define GPIO3_PSOR      (*(volatile uint32_t *)(GPIO3_BASE + 0x44))
#define GPIO3_PCOR      (*(volatile uint32_t *)(GPIO3_BASE + 0x48))
#define GPIO3_PDDR      (*(volatile uint32_t *)(GPIO3_BASE + 0x54))
#endif

#define CTIMER1_BASE    0x40005000U
#define CTIMER1_IR      (*(volatile uint32_t *)(CTIMER1_BASE + 0x00))
#define CTIMER1_TC      (*(volatile uint32_t *)(CTIMER1_BASE + 0x08))
#define CTIMER1_PR      (*(volatile uint32_t *)(CTIMER1_BASE + 0x0C))
#define CTIMER1_MCR     (*(volatile uint32_t *)(CTIMER1_BASE + 0x14))
#define CTIMER1_MR0     (*(volatile uint32_t *)(CTIMER1_BASE + 0x18)) /* HSYNC/ライン */
#define CTIMER1_MR1     (*(volatile uint32_t *)(CTIMER1_BASE + 0x1C)) /* ピクセル */

#define DMA_BASE        0x40008000U
typedef struct {
	volatile uint32_t SRC;
	volatile uint32_t DST;
	volatile uint32_t CTRL;
	volatile uint32_t CFG;
} dma_ch_t;

/* チャネル割当（例） */
#define DMA_CH_SET   ((dma_ch_t *)(DMA_BASE + 0x100))
#define DMA_CH_CLR   ((dma_ch_t *)(DMA_BASE + 0x120))

/* DMAMUX（要機種確認） */
#define DMAMUX_BASE      0x40021000U
#define DMAMUX_CHCFG(n)  (*(volatile uint32_t *)(DMAMUX_BASE + 0x00 + (n)*4))

/* 例：CTIMER1 MR1 を DMA トリガにするID（要RMで確認して差し替え） */
#define DMAMUX_SRC_CTIMER1_MR1   (12U)   /* ★要調整 */
#define DMAMUX_ENBL              (1U << 31)

/* =========================
 *  ピン定義
 * ========================= */
#define SYNC_PIN   14
#define VIDEO_PIN  15
#define SYNC_MASK   (1U << SYNC_PIN)
#define VIDEO_MASK  (1U << VIDEO_PIN)

/* =========================
 *  NTSC 近似パラメータ
 * ========================= */
#define LINE_US      64U
#define HSYNC_US      4U
#define BACK_US       8U
#define VSYNC_LINES  12U
#define TOTAL_LINES 261U

/* ピクセル：96MHz想定で約22cy/px → 約0.23us/px */
#define PIX_CYCLES   22U
#define CPU_HZ       96000000U

/* =========================
 *  ピクセル（LUT廃止：動的生成）
 * ========================= */
typedef struct {
    uint32_t set;
    uint32_t clr;
} pix_t;

/* フォント（display側のものを使う想定でもOK） */
const uint8_t CHAR_PATTERN[256*8];

/* 1ライン：32文字×8px */
#define PIXELS_PER_LINE (32*8)
static pix_t line_buf[PIXELS_PER_LINE];

/* VRAM（例） */
//__attribute__((section(".ram_data")))
static uint8_t vram[32*24];

/* =========================
 *  ピクセル生成（1bit→GPIOパターン）
 * ========================= */
static inline pix_t make_pix(uint8_t bit)
{
    pix_t p;
    if (bit) {
        p.set = VIDEO_MASK;
        p.clr = 0;
    } else {
        p.set = 0;
        p.clr = VIDEO_MASK;
    }
    return p;
}

/* =========================
 *  ライン展開
 * ========================= */
static void build_line_pixels(uint8_t *row, int char_row)
{
	int idx = 0;
	for (int col = 0; col < 32; col++) {
		uint8_t ch = row[col];
        uint8_t pat = CHAR_PATTERN[ch*8 + char_row];
        for (int b = 0; b < 8; b++) {
            uint8_t bit = (pat >> (7 - b)) & 1;
            line_buf[idx++] = make_pix(bit);
        }	}
}

/* =========================
 *  DMA初期化
 * ========================= */
static void dma_init(void)
{
	/* SET */
	DMA_CH_SET->SRC  = (uint32_t)&line_buf[0].set;
	DMA_CH_SET->DST  = (uint32_t)&GPIO3_PSOR;
	DMA_CH_SET->CTRL = (1U<<0) | (1U<<4); /* EN + SRC_INC, DST固定は0想定 */
	DMA_CH_SET->CFG  = 0;

	/* CLR */
	DMA_CH_CLR->SRC  = (uint32_t)&line_buf[0].clr;
	DMA_CH_CLR->DST  = (uint32_t)&GPIO3_PCOR;
	DMA_CH_CLR->CTRL = (1U<<0) | (1U<<4);
	DMA_CH_CLR->CFG  = 0;

	/* DMAMUX：MR1でトリガ */
	DMAMUX_CHCFG(0) = DMAMUX_ENBL | DMAMUX_SRC_CTIMER1_MR1; /* CH0→SET */
	DMAMUX_CHCFG(1) = DMAMUX_ENBL | DMAMUX_SRC_CTIMER1_MR1; /* CH1→CLR */
}

/* =========================
 *  CTimer初期化
 * ========================= */
static void ctimer_init(void)
{
	/* 96MHz → 1MHz (1us) */
	CTIMER1_PR = (CPU_HZ/1000000U) - 1U;

	/* MR0: ライン、MR1: ピクセル */
	CTIMER1_MCR = (1U<<0) | (1U<<3); /* MR0I, MR1I（割り込みは使わなくてもOK） */
}

/* =========================
 *  1ライン開始（同期＋ピクセル開始）
 * ========================= */
static uint32_t next_line_time;
static uint16_t line;

static void start_line(void)
{
	uint32_t t0 = next_line_time;

	/* --- SYNC=L --- */
	while ((int32_t)(CTIMER1_TC - t0) < 0) {}
	GPIO3_PCOR = SYNC_MASK | VIDEO_MASK;

	/* --- HSYNC終了 --- */
	uint32_t t_h = t0 + HSYNC_US;
	while ((int32_t)(CTIMER1_TC - t_h) < 0) {}
	GPIO3_PSOR = SYNC_MASK;

	/* --- BACK PORCH終了 → ピクセル開始 --- */
	uint32_t t_px = t0 + HSYNC_US + BACK_US;

	/* 表示行判定 */
	bool active = (line >= 33 && line < (33+192));
	int vln = (int)line - 33;
	int char_row = vln & 7;

	if (active) {
		build_line_pixels(&vram[(vln>>3)*32], char_row);

		/* DMA転送数設定（実機に合わせて要設定項目追加） */
		DMA_CH_SET->SRC = (uint32_t)&line_buf[0].set;
		DMA_CH_CLR->SRC = (uint32_t)&line_buf[0].clr;

		/* ピクセルクロック開始：MR1を一定周期で進める */
		uint32_t next = t_px;
		for (int i = 0; i < PIXELS_PER_LINE; i++) {
			/* MR1を次ピクセル時刻にセット → DMAMUXでDMA発火 */
			CTIMER1_MR1 = next;
			next += (PIX_CYCLES / (CPU_HZ/1000000U)); /* ≒0.23us刻み（要実機調整） */
			/* ここは“ハードトリガでDMAが動く”ので待つ必要はないが、
			   最小構成では安全のため軽い待ちを入れてもOK */
			while ((int32_t)(CTIMER1_TC - CTIMER1_MR1) < 0) {}
		}

		/* ライン終端で黒に戻す */
		GPIO3_PCOR = VIDEO_MASK;
	} else {
		/* 非表示：黒レベル */
		uint32_t t_b = t0 + HSYNC_US + BACK_US;
		while ((int32_t)(CTIMER1_TC - t_b) < 0) {}
		GPIO3_PSOR = VIDEO_MASK;
	}

	/* 次ラインへ */
	next_line_time += LINE_US;
	line = (line + 1) % TOTAL_LINES;
}

/* =========================
 *  メイン
 * ========================= */
int main(void)
{
#if 0
	GPIO3_PDDR |= SYNC_MASK;
	while (1) {
		GPIO3_PSOR |= SYNC_MASK;   // HIGH
		for (volatile int i=0;i<10000;i++) {
			__asm__ volatile("nop");
		}
		GPIO3_PCOR &= ~SYNC_MASK;  // LOW
		for (volatile int i=0;i<10000;i++) {
			__asm__ volatile("nop");
		}
	}
#endif
const struct device *gpio_dev = DEVICE_DT_GET(DT_NODELABEL(gpio3));

	gpio_pin_configure(gpio_dev, 14, GPIO_OUTPUT);
	GPIO3_PDDR |= SYNC_MASK;
//		GPIO3_PDDR |= 0x0;

	
	gpio_pin_set(gpio_dev, 14, 1);
	k_msleep(100);
	
//	GPIO3_PSOR = SYNC_MASK;
	
while (1) {
//	gpio_pin_toggle(gpio_dev, 14);
	gpio_pin_set(gpio_dev, 14, 1);
	k_msleep(1);
	gpio_pin_set(gpio_dev, 14, 0);
	k_msleep(1);

	GPIO3_PSOR |= SYNC_MASK;   // HIGH
	k_msleep(2);
	GPIO3_PCOR &= ~SYNC_MASK;  // LOW
	k_msleep(2);

}	
	
	/* 何らかのクロック初期化が別途必要（省略） */
	dma_init();
	ctimer_init();

	next_line_time = CTIMER1_TC + LINE_US;
	line = 0;

	while (1) {
		start_line(); /* ライン駆動（CPUはライン粒度のみ関与） */
	}
}
#endif
```

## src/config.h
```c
// IchigoJam_Z - Zephyr/RP2040 port configuration

#ifndef __CONFIG_H__
#define __CONFIG_H__

// Include <stddef.h> first to prevent ichigojam-stddef.h's __STDDEF_H__ guard
// from shadowing GCC's built-in stddef.h (which checks for __STDDEF_H__).
#include <stddef.h>

#define NO_MEMCPY
#include <string.h>

#include "ichigojam-stddef.h"

#define PSG_TICK_FREQ 60
#define PSG_TICK_PER_SEC 60

#define IJB_VER_STR 1.4

#define IJB_TITLE "IchigoJam BASIC " STRING2(IJB_VER_STR) " Zephyr " CONFIG_BOARD "\n"

#define VER_PLATFORM PLATFORM_RP2040_ZEPHYR

#define NO_KBD_COMMAND

#define N_FLASH_STORAGE 100

#define EXT_IOT

#endif // __CONFIG_H__
```

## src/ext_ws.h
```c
// IchigoJam_Z - WS2812B LED stub (not in scope)

#ifndef __EXT_WS_H__
#define __EXT_WS_H__

S_INLINE void ws_out(int port, int nled, int repeat) {
}

#endif // __EXT_WS_H__
```

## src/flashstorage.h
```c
// IchigoJam_Z - flash storage HAL using Zephyr NVS

#ifndef __FLASHSTORAGE_H__
#define __FLASHSTORAGE_H__

#include <zephyr/kernel.h>
#include <zephyr/kvss/nvs.h>
#include <zephyr/storage/flash_map.h>
#include <zephyr/drivers/flash.h>

// NVS key: file n uses ID (n + 1) since NVS ID 0 is reserved
#define NVS_ID(n) ((uint16_t)((n) + 1))

static struct nvs_fs _nvs;
static bool _nvs_ready = false;

void flash_init(void)
{
    const struct flash_area *fa;
    struct flash_pages_info info;

    if (flash_area_open(PARTITION_ID(storage_partition), &fa) != 0) {
        return;
    }

    _nvs.flash_device = flash_area_get_device(fa);
    _nvs.offset       = fa->fa_off;

    if (flash_get_page_info_by_offs(_nvs.flash_device, _nvs.offset, &info) != 0) {
        flash_area_close(fa);
        return;
    }

    /* NVS sector_size must be large enough to hold one BASIC program entry.
     * SIZE_RAM_LIST = 1026 bytes; NVS overhead per sector ≈ 20 bytes.
     * On boards with 1 KB erase blocks (e.g. MCXC444 FTFA), the default
     * sector_size = 1024 would be too small.  Round up to a multiple of
     * the hardware erase block that covers at least 2 KB. */
    _nvs.sector_size = info.size;
    while (_nvs.sector_size < 2048U) {
        _nvs.sector_size += info.size;
    }
    _nvs.sector_count = (uint16_t)(fa->fa_size / _nvs.sector_size);
    flash_area_close(fa);

    if (nvs_mount(&_nvs) == 0) {
        _nvs_ready = true;
    }
}

INLINE int IJB_file(void) {
    return _g.lastfile;
}

// Returns 0 on success, -1 on error
int IJB_save(int n, uint8 *list, int size)
{
    _g.lastfile = n;

    if (!_nvs_ready) {
        return -1;
    }
    if (n < 0 || n >= N_FLASH_STORAGE) {
        return -1;
    }

    ssize_t ret = nvs_write(&_nvs, NVS_ID(n), list, (size_t)size);
    return (ret >= 0) ? 0 : -1;
}

// Returns bytes read on success, -1 if empty / error
int IJB_load(int n, uint8 *list, int sizelimit, int init)
{
    if (init) {
        _g.lastfile = n;
    }

    if (!_nvs_ready || n < 0 || n >= N_FLASH_STORAGE) {
        // Return empty program
        *(uint16 *)list = 0;
        return -1;
    }

    ssize_t ret = nvs_read(&_nvs, NVS_ID(n), list, (size_t)sizelimit);
    if (ret < 0) {
        // Entry not found: return empty
        *(uint16 *)list = 0;
        return -1;
    }
    return (int)ret;
}

#endif // __FLASHSTORAGE_H__
```

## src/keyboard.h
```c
// IchigoJam_Z - keyboard/UART HAL for Zephyr

#ifndef __KEYBOARD_H__
#define __KEYBOARD_H__

#include <zephyr/kernel.h>
#include <zephyr/device.h>
#include <zephyr/drivers/uart.h>

// UART device from chosen node (uart0 via overlay)
#define UART_DEV DT_CHOSEN(zephyr_console)

static const struct device *uart_dev;

// Message queue: 64 bytes, 1-byte items
K_MSGQ_DEFINE(uart_msgq, 1, 64, 1);

static void uart_rx_cb(const struct device *dev, void *user_data)
{
    uint8_t ch;

    if (!uart_irq_update(dev)) {
        return;
    }

    while (uart_irq_rx_ready(dev)) {
        if (uart_fifo_read(dev, &ch, 1) == 1) {
            if (ch == '\r') {
                ch = '\n'; // CR -> LF
            }
            if (ch == 27) { // ESC
                _g.key_flg_esc = (_g.uartmode_rxd & 2) == 0;
            }
            k_msgq_put(&uart_msgq, &ch, K_NO_WAIT);
        }
    }
}

S_INLINE uint key_getKeyboardID(void) {
    return 0;
}

struct keyflg_def key_flg;
uint8 displaymode;

// keybuf is referenced by key_clearKey()
char* keybuf = (char*)RAM_KEYBUF + 1;

S_INLINE void key_init(void) {
}

S_INLINE void key_send_reset(void) {
}

S_INLINE void key_enable(uint8 b) {
}

INLINE int key_btn(int n) {
    return 0;
}

int key_getKey(void) {
    char ch;
    if (k_msgq_get(&uart_msgq, &ch, K_NO_WAIT) == 0) {
        return (int)(uint8_t)ch;
    }
    k_sleep(K_MSEC(1));
    return -1;
}

void key_clearKey(void) {
    k_msgq_purge(&uart_msgq);
    *keybuf = 0;
}

void uart_init(void) {
    uart_dev = DEVICE_DT_GET(UART_DEV);
    if (!device_is_ready(uart_dev)) {
        return;
    }
    uart_irq_callback_user_data_set(uart_dev, uart_rx_cb, NULL);
    uart_irq_rx_enable(uart_dev);
    _g.uartmode_txd = 1;
}

INLINE void IJB_uart(int16 txd, int16 rxd) {
}

void uart_putc(char c) {
    if (uart_dev && device_is_ready(uart_dev)) {
        uart_poll_out(uart_dev, c);
    }
}

void uart_bps(int n) {
}

void put_chr(char c) {
    if (_g.uartmode_txd > 0) {
        uart_putc(c);
    }
    screen_putc(c);
}

INLINE int stopExecute(void) {
    return _g.key_flg_esc;
}

#endif // __KEYBOARD_H__
```

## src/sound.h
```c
// IchigoJam_Z - sound HAL for Zephyr (PWM/PSG, M3)
//
// Timer thread fires at 60 Hz (16666 µs), calls psg_tick() to advance
// the MML/BEEP state machine, then drives the PWM output via set_tone().
//
// Board mapping is fully in the DT overlay (zephyr,user / ij-sound-pwms):
//   rpi_pico       : &pwm  ch 4  (GPIO20 = slice 2, channel A)
//   frdm_mcxa153   : &ctimer0 ch 0  (CT0_MAT0 → D13 / P2_12)
//
// No board-specific labels appear in this file.

#ifndef __SOUND_H__
#define __SOUND_H__

#include <zephyr/kernel.h>
#include <zephyr/drivers/pwm.h>

// Sound PWM spec from overlay:
//   zephyr,user { pwms = <...>; pwm-names = "sound", ...; }
// Accessed by name so board mapping stays entirely in the overlay.
#if DT_NODE_HAS_PROP(DT_PATH(zephyr_user), pwms)
static const struct pwm_dt_spec _snd =
    PWM_DT_SPEC_GET_BY_NAME(DT_PATH(zephyr_user), sound);
#define _SOUND_PWM_ENABLED 1
#else
#define _SOUND_PWM_ENABLED 0
#endif

static bool _sound_on;

// set_tone: drive PWM at freq Hz (0 = silence). Only updates hardware when
// the "effective output" (freq × on/off) actually changes.
S_INLINE void set_tone(int freq)
{
    static int _prev_out_freq = -1;

    int out_freq = (_sound_on && freq > 0) ? freq : 0;

    if (out_freq == _prev_out_freq) {
        return;
    }
    _prev_out_freq = out_freq;

#if _SOUND_PWM_ENABLED
    if (!device_is_ready(_snd.dev)) {
        return;
    }
    if (out_freq == 0) {
        // 0% duty cycle at 100 Hz = constant LOW = silence
        pwm_set(_snd.dev, _snd.channel, 10000000U, 0U, _snd.flags);
    } else {
        uint32_t period_ns = 1000000000U / (uint32_t)out_freq;
        pwm_set(_snd.dev, _snd.channel, period_ns, period_ns / 2U, _snd.flags);
    }
#endif
}

// Timer thread: 60 Hz (16666 µs), advances PSG state then updates PWM
#define SOUND_TIMER_STACK_SIZE 512
#define SOUND_TIMER_PRIORITY   K_PRIO_COOP(1)

K_THREAD_STACK_DEFINE(_sound_timer_stack, SOUND_TIMER_STACK_SIZE);
static struct k_thread _sound_timer_thread;

static void _sound_timer_fn(void *a, void *b, void *c)
{
    while (1) {
        k_sleep(K_USEC(16666));
        psg_tick();
#if !defined(CONFIG_SOC_SERIES_RP2040) && \
    !defined(CONFIG_SOC_SERIES_MCXA1X3)
        /* RP2040/MCXA1X3 では CVBS ライン ISR が
         * frames / _g.linecnt を更新するため、ここでは行わない。
         * 二重インクリメントすると TICK(0) が 2x 速になる。 */
        frames++;        // TICK(0) / video_waitSync frame counter
        _g.linecnt++;    // TICK(1) / WAIT -n line counter
#endif
        uint16_t tone = _g.psgtone;
        // Frequency formula from IchigoJam_P: freq = 60 * 261 / 2 / tone
        int freq = tone ? (7830 / (int)tone) : 0;
        set_tone(freq);
    }
}

INLINE void sound_init(void) {
    _g.psgratio = 1;
    _sound_on = false;

    k_thread_create(&_sound_timer_thread,
                    _sound_timer_stack,
                    K_THREAD_STACK_SIZEOF(_sound_timer_stack),
                    _sound_timer_fn, NULL, NULL, NULL,
                    SOUND_TIMER_PRIORITY, 0, K_NO_WAIT);
    k_thread_name_set(&_sound_timer_thread, "psg_timer");
}

void sound_on(void) {
    _sound_on = true;
}

void sound_off(void) {
    _sound_on = false;
    set_tone(0);
}

static void sound_switch(int on) {
    if (on) {
        sound_on();
    } else {
        sound_off();
    }
}

// sound_tick: used in PSG_TRUE_TONE path only; no-op for TONE12
S_INLINE void sound_tick(void) {
}

#endif // __SOUND_H__
```

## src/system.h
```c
// IchigoJam_Z - system HAL for Zephyr

#ifndef __SYSTEM_H__
#define __SYSTEM_H__

#include <zephyr/kernel.h>
#include <zephyr/sys/reboot.h>

void system_init(void) {
    _g.screen_big         = 0;
    _g.screen_invert      = 0;
    _g.lastfile           = 0;
    _g.screen_insertmode  = 1;
    key_flg.insert        = 0;
    // key_flg is zero-initialised at startup; noresmode alias needs no explicit set
}

int getSleepFlag(void) {
    return 0;
}

void enterDeepSleep(int waitsec) {
    k_sleep(K_SECONDS(waitsec));
}

INLINE void deepPowerDown(void) {
}

INLINE void IJB_sleep(void) {
}

S_INLINE void IJB_reset(void) {
    sys_reboot(SYS_REBOOT_COLD);
}

// forward declaration: defined in keyboard.h which is included after system.h
int stopExecute(void);

// IJB_wait: wait n ticks (1 tick ≈ 1/60 s).
//   n > 0: sleep n×16 ms, polling ESC each tick
//   n < 0: wait |n| frames via _g.linecnt (incremented by sound timer at 60 Hz)
int IJB_wait(int n, int active) {
    if (n < 0) {
        _g.linecnt = 0;
        uint16_t target = (uint16_t)(-n);
        while (_g.linecnt < target) {
            k_sleep(K_MSEC(1));
            if (stopExecute()) return 1;
        }
        return 0;
    }
    int ticks = n;
    while (ticks > 0) {
        k_sleep(K_MSEC(16));
        ticks--;
        if (stopExecute()) return 1;
    }
    return 0;
}

#endif // __SYSTEM_H__
```

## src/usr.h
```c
// IchigoJam_Z - USR() machine code call (Zephyr/RP2040)
//
// Same convention as IchigoJam_P:
//   R0 = n          (user argument)
//   R1 = mem        = RAM_AREA - OFFSET_RAMROM  (BASIC→real addr base)
//   R2 = rom        = CHAR_PATTERN              (font ROM base)
//   R3 = fdiv       = __aeabi_uidivmod          (soft-divide helper)
//
// The address `ad` is a BASIC virtual address (#C00 .. #11FF for LIST area).
// We convert it to a real ARM address and set bit0 for Thumb mode.

#ifndef __USR_H__
#define __USR_H__

extern uint64_t __aeabi_uidivmod(unsigned numerator, unsigned denominator);

INLINE int IJB_usr(int ad, int n) {
    if (ad < OFFSET_RAMROM || ad >= OFFSET_RAMROM + SIZE_RAM) {
        return 0;  // address out of RAM range
    }
    // real address = RAM_AREA + (ad - OFFSET_RAMROM), +1 for Thumb mode
    int (*f)(int, void *, void *, void *) =
        (void *)(RAM_AREA + ad - (OFFSET_RAMROM - 1));
    void *mem  = (void *)((uintptr_t)RAM_AREA - OFFSET_RAMROM);  // R1: BASIC→real base
    void *rom  = (void *)CHAR_PATTERN;                // R2: font ROM
    void *fdiv = (void *)__aeabi_uidivmod;            // R3: soft-divide
    return f(n, mem, rom, fdiv);
}

#endif // __USR_H__
```
